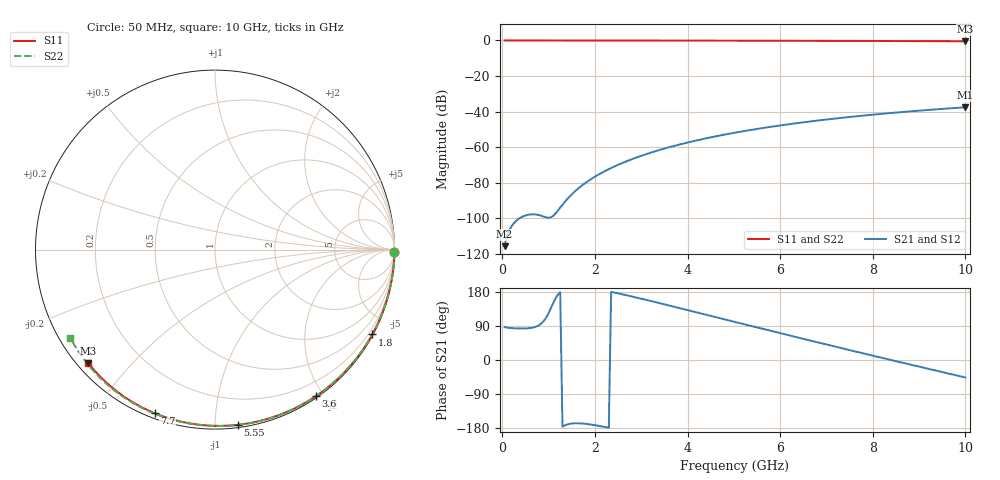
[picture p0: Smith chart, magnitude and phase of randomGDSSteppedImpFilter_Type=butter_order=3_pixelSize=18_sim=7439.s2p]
! freq	dB(S11)	phase(S11)	dB(S12)	phase(S12)
!  dB(S21)	phase(S21)	dB(S22)	phase(S22)
!S-par simulation data
#  GHz  S  DB  R 50
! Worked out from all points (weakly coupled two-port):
!   200 points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, 50 MHz to 10 GHz, reference 50 ohm
!   highest |S21| = -37.55 dB at 10 GHz (marker M1); lowest = -115.6 dB at 50 MHz (marker M2)
!   lowest |S11| = -0.5 dB at 10 GHz (marker M3), VSWR 37.08, Z = 1.54 - j19.1 ohm
!   |S11| at or under -10 dB: nowhere
!   |S22| runs from -0.5 to 0.0 dB; largest |S21 - S12| = 0
!   S11 on the Smith chart (normalised r, x): 50 MHz: open; 1.8 GHz: 0.03, -3.96; 3.6 GHz: 0.02, -1.91; 5.55 GHz: 0.02, -1.14; 7.7 GHz: 0.02, -0.70; 10 GHz: 0.03, -0.38
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0.05  -0.00 -0.8  -115.59 87.2  -115.59 87.2  -0.00 -0.9
0.45  -0.01 -7.2  -98.84 83.1  -98.84 83.1  -0.01 -7.8
0.9  -0.02 -14.3  -99.03 103.5  -99.03 103.5  -0.02 -15.4
1.3  -0.03 -20.6  -92.28 -176.0  -92.28 -176.0  -0.03 -22.2
1.75  -0.04 -27.6  -80.88 -167.9  -80.88 -167.9  -0.04 -29.7
1.8  -0.04 -28.3  -79.93 -168.5  -79.93 -168.5  -0.04 -30.5
1.95  -0.04 -30.7  -77.33 -170.9  -77.33 -170.9  -0.04 -33.0
2.1  -0.04 -33.0  -75.03 -174.1  -75.03 -174.1  -0.05 -35.5
2.3  -0.05 -36.0  -72.30 -178.9  -72.30 -178.9  -0.05 -38.8
2.5  -0.05 -39.0  -69.88 175.9  -69.88 175.9  -0.05 -42.0
2.9  -0.06 -45.0  -65.74 164.7  -65.74 164.7  -0.06 -48.5
3.4  -0.07 -52.4  -61.50 149.9  -61.50 149.9  -0.08 -56.4
3.6  -0.07 -55.4  -60.02 143.9  -60.02 143.9  -0.08 -59.5
4.3  -0.09 -65.4  -55.55 122.6  -55.55 122.6  -0.10 -70.3
5.05  -0.12 -75.8  -51.69 99.7  -51.69 99.7  -0.13 -81.4
5.55  -0.14 -82.6  -49.51 84.5  -49.51 84.5  -0.15 -88.6
6.1  -0.16 -89.9  -47.39 67.8  -47.39 67.8  -0.17 -96.4
6.7  -0.19 -97.7  -45.35 49.8  -45.35 49.8  -0.20 -104.7
7.7  -0.25 -110.3  -42.46 20.2  -42.46 20.2  -0.27 -118.2
8.35  -0.30 -118.3  -40.86 1.2  -40.86 1.2  -0.33 -126.8
9.2  -0.38 -128.6  -39.03 -23.3  -39.03 -23.3  -0.41 -138.0
10  -0.47 -138.2  -37.55 -46.2  -37.55 -46.2  -0.50 -148.5
